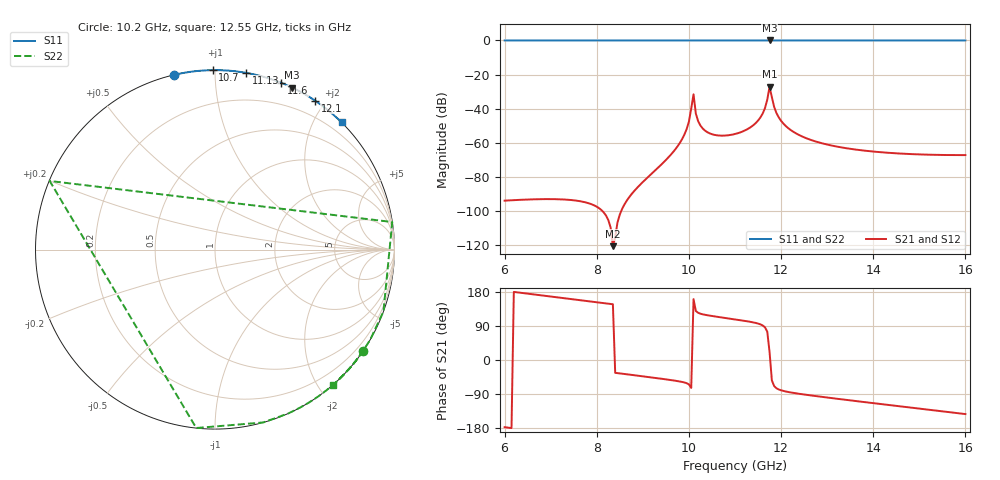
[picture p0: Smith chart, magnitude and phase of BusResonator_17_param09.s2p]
! Sonnet Data File
! From: emgraph Version : 16.54
! From Project: BusResonator_17
! Data is De-embedded
! Data File Written: 08/31/2017 18:33:07
!< HDATE 08/31/2017 16:58:22
!< MDATE 08/31/2017 17:03:00
!< PARAMS
!< BusLengthControl = 4100.0
!< END PARAMS
# GHZ S MA R 50.00000
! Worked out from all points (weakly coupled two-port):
!   799 points, 6 GHz to 16 GHz, reference 50 ohm
!   highest |S21| = -27.16 dB at 11.75 GHz (marker M1); lowest = -120.6 dB at 8.35 GHz (marker M2)
!   lowest |S11| = 0.0 dB at 11.75 GHz (marker M3)
!   |S11| at or under -10 dB: nowhere
!   |S22| runs from 0.0 to 0.0 dB; largest |S21 - S12| = 0
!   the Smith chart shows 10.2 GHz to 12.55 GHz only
!   S11 on the Smith chart (normalised r, x): 10.2 GHz: 0.00, +0.79; 10.7 GHz: 0.00, +0.99; 11.13 GHz: 0.00, +1.19; 11.6 GHz: 0.00, +1.47; 12.1 GHz: 0.00, +1.88; 12.55 GHz: 0.00, +2.41
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6  1 -148.9  2.01e-05 -177.3  2.01e-05 -177.3  1 -25.7
!< P1 F=6.0 Eeff=(6.44857038 -2.9736e-5) Z0=(51.7893065 1.19468e-4) R=0.05083541 C=0.00240605
!< P2 F=6.0 Eeff=(6.44857038 -2.9736e-5) Z0=(51.7893065 1.19468e-4) R=0.05083541 C=0.00240605
7.7  1 167.1  1.864e-05 156.9  1.864e-05 156.9  1 -33.3
8.35  1 150.4  9.299e-07 147.1  9.299e-07 147.1  1 -36.4
9  1 133.7  7.082e-05 -43.0  7.082e-05 -43.0  1 -39.8
9.35  1 124.8  0.0001971 -48.6  0.0001971 -48.6  1 -41.9
9.75  1 114.6  0.0007772 -55.6  0.0007772 -55.6  1 -45.8
9.9  1 110.8  0.001717 -59.2  0.001717 -59.2  1 -49.3
10  1 108.3  0.004186 -64.3  0.004186 -64.3  0.9999 -56.9
10.2  1 103.2  0.004298 124.5  0.004298 124.5  1 -34.2
10.4  1 98.2  0.002043 118.1  0.002043 118.1  1 -42.0
10.7  1 90.7  0.001619 112.5  0.001619 112.5  1 -45.7
11  1 83.2  0.001806 107.3  0.001806 107.3  1 -48.7
11.13  1 80.0  0.002051 104.9  0.002051 104.9  1 -50.2
11.5  1 70.8  0.004474 96.2  0.004474 96.2  1 -58.5
11.6  1 68.4  0.007158 91.2  0.007158 91.2  0.9999 -65.9
11.75  0.999 64.7  0.04387 21.1  0.04387 21.1  0.9972 157.4
11.95  1 59.8  0.005537 -77.8  0.005537 -77.8  1 -35.4
12.1  1 56.1  0.003117 -83.1  0.003117 -83.1  1 -42.3
12.55  1 45.1  0.001354 -91.9  0.001354 -91.9  1 -49.0
12.7  1 41.5  0.001146 -94.3  0.001146 -94.3  1 -50.2
14.35  1 1.7  0.0005057 -118.9  0.0005057 -118.9  1 -59.5
16  1 -38.1  0.0004351 -142.7  0.0004351 -142.7  1 -67.3
